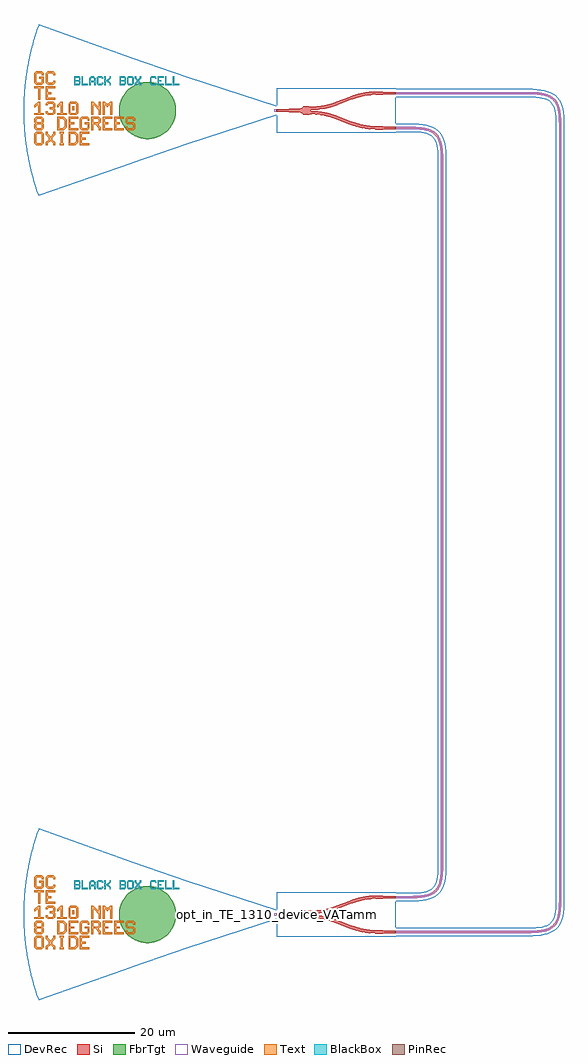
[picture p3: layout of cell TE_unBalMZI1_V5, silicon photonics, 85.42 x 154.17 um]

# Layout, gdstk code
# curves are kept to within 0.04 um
import gdstk
lib = gdstk.Library(unit=1e-6, precision=1e-09)
def R(c, l, rs):  # rectangles x0, y0, x1, y1
    for r in rs: c.add(gdstk.rectangle(r[:2], r[2:], *l))
def P(c, l, *ps):  # polygons
    for p in ps: c.add(gdstk.Polygon(p, *l))
Si = (1, 0)
PinRec = (1, 10)
Waveguide = (1, 99)
Text = (10, 0)
DevRec = (68, 0)
FbrTgt = (81, 0)
BlackBox = (998, 0)

ebeam_y_1310 = lib.new_cell('ebeam_y_1310')
R(ebeam_y_1310, Si, [(6.5,-3,7.4,-2.5), (-7.4,-0.25,-6,0.25), (6.5,2.5,7.4,3)])
P(ebeam_y_1310, Si, [(6.458,-3),(6.237,-2.997),(6.237,-2.497),(6.5,-2.5),(6.5,-3)],
  [(5.033,-2.908),(3.59,-2.634),(2.265,-2.21),(2.445,-1.744),(3.731,-2.154),(5.033,-2.404)],
  [(6.233,-2.997),(5.033,-2.908),(5.033,-2.404),(6.237,-2.497)],
  [(2.265,-2.21),(0.055,-1.356),(0.235,-0.89),(2.445,-1.744)],
  [(-0.762,-1.076),(-2.334,-0.724),(-4,-0.6),(-4,-0.1),(-2.381,-0.212),(-0.762,-0.555)],
  [(0.055,-1.356),(-0.762,-1.076),(-0.762,-0.555),(0.235,-0.89)],
  [(6.237,2.497),(6.237,2.997),(6.5,3),(6.5,2.5)],
  [(2.445,1.744),(2.267,2.211),(3.59,2.634),(5.033,2.908),(5.033,2.404),(3.731,2.154)],
  [(5.033,2.404),(5.033,2.908),(6.237,2.997),(6.237,2.497)],
  [(0.235,0.89),(0.055,1.356),(2.265,2.21),(2.445,1.744)],
  [(-4,0.1),(-4,0.6),(-2.334,0.724),(-0.762,1.076),(-0.762,0.555),(-2.381,0.212)],
  [(-0.762,0.555),(-0.762,1.076),(0.055,1.356),(0.235,0.89)],
  [(-5.122,-0.662),(-5.442,-0.374),(-5.808,-0.255),(-6,-0.25),(-6,0.25),(-5.817,0.253),(-5.442,0.374),(-5.122,0.662)],
  [(-4.957,-0.703),(-5.122,-0.662),(-5.122,0.662),(-4.538,0.703),(-4,0.6),(-4,-0.6),(-4.509,-0.701)],
  [(-7.4,-0.25),(-9.4,-0.175),(-9.4,0.175),(-7.4,0.25)],
  [(7.4,2.5),(7.4,3),(9.4,2.925),(9.4,2.575)],
  [(7.4,-3),(7.4,-2.5),(9.4,-2.575),(9.4,-2.925)])
R(ebeam_y_1310, DevRec, [(-9.4,-3.5,9.4,3.5)])
ebeam_y_1310.add(gdstk.FlexPath([(9.35,2.75),(9.45,2.75)], 0.35, ends="flush", simple_path=True, layer=1, datatype=10))  # PinRec
ebeam_y_1310.add(gdstk.FlexPath([(9.35,-2.75),(9.45,-2.75)], 0.35, ends="flush", simple_path=True, layer=1, datatype=10))  # PinRec
ebeam_y_1310.add(gdstk.FlexPath([(-9.35,0),(-9.45,0)], 0.35, ends="flush", simple_path=True, layer=1, datatype=10))  # PinRec
ebeam_y_1310.add(gdstk.Label('opt2', (9.4,2.75), layer=1, texttype=10))
ebeam_y_1310.add(gdstk.Label('opt3', (9.4,-2.75), layer=1, texttype=10))
ebeam_y_1310.add(gdstk.Label('opt1', (-9.4,0), layer=1, texttype=10))
ebeam_y_1310.add(gdstk.Label('Component=ebeam_y_1310', (-9,1.5), layer=68, texttype=0))
ebeam_y_1310.add(gdstk.Label('Lumerical_INTERCONNECT_library=NONE', (-6.86,-2.19), layer=68, texttype=0))
ebeam_y_1310.add(gdstk.Label('Ref: Y Zhang, Opt. Express, 21/1, 2013, for 1550 nm\nWorks reasonably well at 1310 nm', (-9.25,-1), layer=10, texttype=0))

waveguide_11 = lib.new_cell('Waveguide$11')
P(waveguide_11, Si, [(58.79,143.015),(58.79,143.365),(61.55,143.37),(62.688,143.437),(63.754,143.633),(64.245,143.809),(64.655,144.034),(65.211,144.563),(65.596,145.301),(65.832,146.29),(65.941,147.761),(65.935,260.324),(65.806,261.748),(65.55,262.7),(65.143,263.405),(64.834,263.714),(64.459,263.966),(63.618,264.284),(62.512,264.462),(61.549,264.511),(58.79,264.515),(58.79,264.865),(61.555,264.861),(62.725,264.792),(63.704,264.624),(64.509,264.334),(65.152,263.902),(65.636,263.312),(65.971,262.561),(66.177,261.643),(66.277,260.539),(66.291,147.755),(66.178,146.238),(65.926,145.183),(65.702,144.683),(65.414,144.254),(65.153,143.979),(64.742,143.674),(63.85,143.297),(62.726,143.089),(61.556,143.02)])
P(waveguide_11, Waveguide, [(58.79,143.015),(58.79,143.365),(61.55,143.37),(62.688,143.437),(63.754,143.633),(64.245,143.809),(64.655,144.034),(65.211,144.563),(65.596,145.301),(65.832,146.29),(65.941,147.761),(65.935,260.324),(65.806,261.748),(65.55,262.7),(65.143,263.405),(64.834,263.714),(64.459,263.966),(63.618,264.284),(62.512,264.462),(61.549,264.511),(58.79,264.515),(58.79,264.865),(61.555,264.861),(62.725,264.792),(63.704,264.624),(64.509,264.334),(65.152,263.902),(65.636,263.312),(65.971,262.561),(66.177,261.643),(66.277,260.539),(66.291,147.755),(66.178,146.238),(65.926,145.183),(65.702,144.683),(65.414,144.254),(65.153,143.979),(64.742,143.674),(63.85,143.297),(62.726,143.089),(61.556,143.02)])
P(waveguide_11, DevRec, [(58.79,142.515),(58.79,143.865),(61.772,143.876),(62.876,143.964),(63.719,144.145),(64.047,144.268),(64.545,144.576),(64.899,144.993),(65.166,145.592),(65.347,146.435),(65.435,147.538),(65.434,260.342),(65.346,261.446),(65.165,262.289),(64.898,262.888),(64.734,263.115),(64.317,263.469),(63.718,263.736),(63.328,263.838),(62.356,263.973),(58.79,264.015),(58.79,265.365),(61.818,265.355),(63.061,265.255),(64.124,265.024),(65.031,264.615),(65.42,264.331),(66.044,263.602),(66.453,262.695),(66.684,261.632),(66.784,260.39),(66.785,147.492),(66.588,145.696),(66.275,144.712),(65.761,143.89),(65.032,143.266),(64.125,142.857),(63.062,142.626),(61.82,142.526)])
waveguide_11.add(gdstk.FlexPath([(58.8,264.69),(58.78,264.69)], 0.35, ends="flush", simple_path=True, layer=1, datatype=10))  # PinRec
waveguide_11.add(gdstk.FlexPath([(58.8,143.19),(58.78,143.19)], 0.35, ends="flush", simple_path=True, layer=1, datatype=10))  # PinRec
waveguide_11.add(gdstk.Label('opt1', (58.79,264.69), layer=1, texttype=10))
waveguide_11.add(gdstk.Label('opt2', (58.79,143.19), layer=1, texttype=10))
waveguide_11.add(gdstk.Label('Lumerical_INTERCONNECT_library=Design kits/EBeam', (58.79,264.62), layer=68, texttype=0))
waveguide_11.add(gdstk.Label('Component=ebeam_wg_integral_1310', (58.79,264.76), layer=68, texttype=0))
waveguide_11.add(gdstk.Label('cellName=Waveguide', (58.79,264.83), layer=68, texttype=0))
waveguide_11.add(gdstk.Label('Spice_param:wg_length=0.000133067 wg_width=3.5e-07 points="[[58.79,264.69],[66.12,264.69],[66.12,143.19],[58.79,143.19]]" radius=5e-06', (58.79,264.69), layer=68, texttype=0))
waveguide_11.add(gdstk.Label('Length=133.067 (microns)', (58.79,264.27), layer=68, texttype=0))
waveguide_11.add(gdstk.Label('waveguide_type=Strip TE 1310 nm, w=350 nm', (58.79,264.55), layer=68, texttype=0))

text = lib.new_cell('TEXT')
P(text, BlackBox, [(0,0),(0,1.4),(0.8,1.4),(1,1.2),(0.2,1.2),(0.2,0.8),(0.7,0.8),(0.8,0.9),(0.8,1.1),(0.7,1.2),(1,1.2),(1,0.8),(0.9,0.7),(1,0.6),(0.2,0.6),(0.2,0.2),(0.7,0.2),(0.8,0.3),(0.8,0.5),(0.7,0.6),(1,0.6),(1,0.2),(0.8,0)],
  [(1.2,0),(1.2,1.4),(1.4,1.4),(1.4,0.2),(2.2,0.2),(2.2,0)],
  [(2.4,0),(2.4,1.1),(2.7,1.4),(3.1,1.4),(3.3,1.2),(2.8,1.2),(2.6,1),(2.6,0.7),(3.2,0.7),(3.2,1),(3,1.2),(3.3,1.2),(3.4,1.1),(3.4,0),(3.2,0),(3.2,0.5),(2.6,0.5),(2.6,0)],
  [(3.8,0),(3.6,0.2),(3.6,1.2),(3.8,1.4),(4.4,1.4),(4.6,1.2),(4.6,1),(4.4,1),(4.4,1.1),(4.3,1.2),(3.9,1.2),(3.8,1.1),(3.8,0.3),(3.9,0.2),(4.3,0.2),(4.4,0.3),(4.4,0.4),(4.6,0.4),(4.6,0.2),(4.4,0)],
  [(4.8,0),(4.8,1.4),(5,1.4),(5,0.8),(5.2,0.8),(5.6,1.2),(5.6,1.4),(5.8,1.4),(5.8,1.1),(5.4,0.7),(5.8,0.3),(5.8,0),(5.6,0),(5.6,0.2),(5.2,0.6),(5,0.6),(5,0)],
  [(7.2,0),(7.2,1.4),(8,1.4),(8.2,1.2),(7.4,1.2),(7.4,0.8),(7.9,0.8),(8,0.9),(8,1.1),(7.9,1.2),(8.2,1.2),(8.2,0.8),(8.1,0.7),(8.2,0.6),(7.4,0.6),(7.4,0.2),(7.9,0.2),(8,0.3),(8,0.5),(7.9,0.6),(8.2,0.6),(8.2,0.2),(8,0)],
  [(8.6,0),(8.4,0.2),(8.4,1.2),(8.6,1.4),(9.2,1.4),(9.4,1.2),(9.4,0.7),(9.2,0.7),(9.2,1.1),(9.1,1.2),(8.7,1.2),(8.6,1.1),(8.6,0.3),(8.7,0.2),(9.1,0.2),(9.2,0.3),(9.2,0.7),(9.4,0.7),(9.4,0.2),(9.2,0)],
  [(9.6,0),(9.6,0.3),(9.9,0.6),(9.9,0.8),(9.6,1.1),(9.6,1.4),(9.8,1.4),(9.8,1.2),(10.1,0.9),(10.4,1.2),(10.4,1.4),(10.6,1.4),(10.6,1.1),(10.3,0.8),(10.3,0.6),(10.6,0.3),(10.6,0),(10.4,0),(10.4,0.2),(10.1,0.5),(9.8,0.2),(9.8,0)],
  [(12.2,0),(12,0.2),(12,1.2),(12.2,1.4),(12.8,1.4),(13,1.2),(13,1),(12.8,1),(12.8,1.1),(12.7,1.2),(12.3,1.2),(12.2,1.1),(12.2,0.3),(12.3,0.2),(12.7,0.2),(12.8,0.3),(12.8,0.4),(13,0.4),(13,0.2),(12.8,0)],
  [(13.2,0),(13.2,1.4),(14.2,1.4),(14.2,1.2),(13.4,1.2),(13.4,0.8),(13.8,0.8),(13.8,0.6),(13.4,0.6),(13.4,0.2),(14.2,0.2),(14.2,0)],
  [(14.4,0),(14.4,1.4),(14.6,1.4),(14.6,0.2),(15.4,0.2),(15.4,0)],
  [(15.6,0),(15.6,1.4),(15.8,1.4),(15.8,0.2),(16.6,0.2),(16.6,0)])

gc_te_1310_8degoxide_bb = lib.new_cell('GC_TE_1310_8degOxide_BB')
R(gc_te_1310_8degoxide_bb, Waveguide, [(-0.4,-0.175,0,0.175)])
R(gc_te_1310_8degoxide_bb, Text, [(-32.27,0.06,-31.97,0.66)])
P(gc_te_1310_8degoxide_bb, Text, [(-37.67,1.71),(-37.67,3.51),(-38.27,3.51),(-38.27,3.81),(-36.77,3.81),(-36.77,3.51),(-37.37,3.51),(-37.37,1.71)],
  [(-37.97,-5.49),(-38.27,-5.19),(-38.27,-3.69),(-37.97,-3.39),(-37.07,-3.39),(-36.77,-3.69),(-36.77,-4.44),(-37.07,-4.44),(-37.07,-3.84),(-37.22,-3.69),(-37.82,-3.69),(-37.97,-3.84),(-37.97,-5.04),(-37.82,-5.19),(-37.22,-5.19),(-37.07,-5.04),(-37.07,-4.44),(-36.77,-4.44),(-36.77,-5.19),(-37.07,-5.49)],
  [(-31.07,-5.49),(-31.07,-3.39),(-29.57,-3.39),(-29.57,-3.69),(-30.77,-3.69),(-30.77,-4.29),(-30.17,-4.29),(-30.17,-4.59),(-30.77,-4.59),(-30.77,-5.19),(-29.57,-5.19),(-29.57,-5.49)],
  [(-32.87,-3.09),(-32.87,-0.99),(-31.37,-0.99),(-31.37,-1.29),(-32.57,-1.29),(-32.57,-1.89),(-31.97,-1.89),(-31.97,-2.19),(-32.57,-2.19),(-32.57,-2.79),(-31.37,-2.79),(-31.37,-3.09)],
  [(-27.47,-3.09),(-27.47,-0.99),(-25.97,-0.99),(-25.97,-1.29),(-27.17,-1.29),(-27.17,-1.89),(-26.57,-1.89),(-26.57,-2.19),(-27.17,-2.19),(-27.17,-2.79),(-25.97,-2.79),(-25.97,-3.09)],
  [(-25.67,-3.09),(-25.67,-0.99),(-24.17,-0.99),(-24.17,-1.29),(-25.37,-1.29),(-25.37,-1.89),(-24.77,-1.89),(-24.77,-2.19),(-25.37,-2.19),(-25.37,-2.79),(-24.17,-2.79),(-24.17,-3.09)],
  [(-36.47,1.71),(-36.47,3.81),(-34.97,3.81),(-34.97,3.51),(-36.17,3.51),(-36.17,2.91),(-35.57,2.91),(-35.57,2.61),(-36.17,2.61),(-36.17,2.01),(-34.97,2.01),(-34.97,1.71)],
  [(-27.47,-0.69),(-27.47,1.41),(-27.17,1.41),(-26.87,1.11),(-26.57,1.11),(-26.27,1.41),(-25.97,1.41),(-25.97,-0.69),(-26.27,-0.69),(-26.27,0.81),(-26.42,0.81),(-26.72,0.51),(-27.02,0.81),(-27.17,0.81),(-27.17,-0.69)],
  [(-29.27,-0.69),(-29.27,1.41),(-28.97,1.41),(-28.22,0.66),(-28.07,0.66),(-28.07,1.41),(-27.77,1.41),(-27.77,-0.69),(-28.07,-0.69),(-28.07,0.06),(-28.82,0.81),(-28.97,0.81),(-28.97,-0.69)],
  [(-34.22,-5.49),(-34.22,-5.19),(-34.07,-5.19),(-34.07,-3.69),(-34.22,-3.69),(-34.22,-3.39),(-33.62,-3.39),(-33.62,-3.69),(-33.77,-3.69),(-33.77,-5.19),(-33.62,-5.19),(-33.62,-5.49)],
  [(-36.17,-0.69),(-36.47,-0.39),(-36.47,-0.09),(-36.17,-0.09),(-36.17,-0.24),(-36.02,-0.39),(-35.42,-0.39),(-35.27,-0.24),(-35.27,0.06),(-35.42,0.21),(-35.87,0.21),(-35.87,0.51),(-35.42,0.51),(-35.27,0.66),(-35.27,0.96),(-35.42,1.11),(-36.02,1.11),(-36.17,0.96),(-36.17,0.81),(-36.47,0.81),(-36.47,1.11),(-36.17,1.41),(-35.27,1.41),(-34.97,1.11),(-34.97,0.51),(-35.12,0.36),(-34.97,0.21),(-34.97,-0.39),(-35.27,-0.69)],
  [(-29.27,-3.09),(-29.27,-0.99),(-28.07,-0.99),(-27.77,-1.29),(-28.97,-1.29),(-28.97,-1.89),(-28.22,-1.89),(-28.07,-1.74),(-28.07,-1.44),(-28.22,-1.29),(-27.77,-1.29),(-27.77,-1.89),(-28.07,-2.19),(-28.07,-2.34),(-27.77,-2.64),(-27.77,-3.09),(-28.07,-3.09),(-28.07,-2.79),(-28.67,-2.19),(-28.97,-2.19),(-28.97,-3.09)],
  [(-30.77,-3.09),(-31.07,-2.79),(-31.07,-1.29),(-30.77,-0.99),(-29.87,-0.99),(-29.57,-1.29),(-29.57,-1.59),(-29.87,-1.59),(-29.87,-1.44),(-30.02,-1.29),(-30.62,-1.29),(-30.77,-1.44),(-30.77,-2.64),(-30.62,-2.79),(-30.02,-2.79),(-29.87,-2.64),(-29.87,-2.19),(-30.32,-2.19),(-30.32,-1.89),(-29.57,-1.89),(-29.57,-2.79),(-29.87,-3.09)],
  [(-37.97,4.11),(-38.27,4.41),(-38.27,5.91),(-37.97,6.21),(-37.07,6.21),(-36.77,5.91),(-36.77,5.61),(-37.07,5.61),(-37.07,5.76),(-37.22,5.91),(-37.82,5.91),(-37.97,5.76),(-37.97,4.56),(-37.82,4.41),(-37.22,4.41),(-37.07,4.56),(-37.07,5.01),(-37.52,5.01),(-37.52,5.31),(-36.77,5.31),(-36.77,4.41),(-37.07,4.11)],
  [(-32.57,-0.69),(-32.87,-0.39),(-32.87,1.11),(-32.57,1.41),(-31.67,1.41),(-31.37,1.11),(-32.42,1.11),(-32.57,0.96),(-32.57,-0.24),(-32.42,-0.39),(-31.82,-0.39),(-31.67,-0.24),(-31.67,0.96),(-31.82,1.11),(-31.37,1.11),(-31.37,-0.39),(-31.67,-0.69)],
  [(-32.87,-5.49),(-32.87,-3.39),(-31.82,-3.39),(-31.52,-3.69),(-32.57,-3.69),(-32.57,-5.19),(-31.97,-5.19),(-31.67,-4.89),(-31.67,-3.99),(-31.97,-3.69),(-31.52,-3.69),(-31.37,-3.84),(-31.37,-5.04),(-31.82,-5.49)],
  [(-34.67,-3.09),(-34.67,-0.99),(-33.62,-0.99),(-33.32,-1.29),(-34.37,-1.29),(-34.37,-2.79),(-33.77,-2.79),(-33.47,-2.49),(-33.47,-1.59),(-33.77,-1.29),(-33.32,-1.29),(-33.17,-1.44),(-33.17,-2.64),(-33.62,-3.09)],
  [(-23.57,-3.09),(-23.87,-2.79),(-23.87,-2.49),(-23.57,-2.49),(-23.57,-2.64),(-23.42,-2.79),(-22.82,-2.79),(-22.67,-2.64),(-22.67,-2.34),(-22.82,-2.19),(-23.57,-2.19),(-23.87,-1.89),(-23.87,-1.29),(-23.57,-0.99),(-22.67,-0.99),(-22.37,-1.29),(-22.37,-1.59),(-22.67,-1.59),(-22.67,-1.44),(-22.82,-1.29),(-23.42,-1.29),(-23.57,-1.44),(-23.57,-1.74),(-23.42,-1.89),(-22.67,-1.89),(-22.37,-2.19),(-22.37,-2.79),(-22.67,-3.09)],
  [(-37.97,-3.09),(-38.27,-2.79),(-38.27,-2.19),(-38.12,-2.04),(-38.27,-1.89),(-38.27,-1.29),(-37.97,-0.99),(-37.07,-0.99),(-36.77,-1.29),(-37.82,-1.29),(-37.97,-1.44),(-37.97,-1.74),(-37.82,-1.89),(-37.22,-1.89),(-37.07,-1.74),(-37.07,-1.44),(-37.22,-1.29),(-36.77,-1.29),(-36.77,-1.89),(-36.92,-2.04),(-36.77,-2.19),(-37.82,-2.19),(-37.97,-2.34),(-37.97,-2.64),(-37.82,-2.79),(-37.22,-2.79),(-37.07,-2.64),(-37.07,-2.34),(-37.22,-2.19),(-36.77,-2.19),(-36.77,-2.79),(-37.07,-3.09)],
  [(-38.27,-0.69),(-38.27,-0.39),(-37.67,-0.39),(-37.67,0.81),(-37.82,0.81),(-38.12,0.51),(-38.27,0.51),(-38.27,0.81),(-37.67,1.41),(-37.37,1.41),(-37.37,-0.39),(-36.77,-0.39),(-36.77,-0.69)],
  [(-34.67,-0.69),(-34.67,-0.39),(-34.07,-0.39),(-34.07,0.81),(-34.22,0.81),(-34.52,0.51),(-34.67,0.51),(-34.67,0.81),(-34.07,1.41),(-33.77,1.41),(-33.77,-0.39),(-33.17,-0.39),(-33.17,-0.69)],
  [(-36.47,-5.49),(-36.47,-5.04),(-36.02,-4.59),(-36.02,-4.29),(-36.47,-3.84),(-36.47,-3.39),(-36.17,-3.39),(-36.17,-3.69),(-35.72,-4.14),(-35.27,-3.69),(-35.27,-3.39),(-34.97,-3.39),(-34.97,-3.84),(-35.42,-4.29),(-35.42,-4.59),(-34.97,-5.04),(-34.97,-5.49),(-35.27,-5.49),(-35.27,-5.19),(-35.72,-4.74),(-36.17,-5.19),(-36.17,-5.49)],
  [(-36.17,4.11),(-36.47,4.41),(-36.47,5.91),(-36.17,6.21),(-35.27,6.21),(-34.97,5.91),(-34.97,5.61),(-35.27,5.61),(-35.27,5.76),(-35.42,5.91),(-36.02,5.91),(-36.17,5.76),(-36.17,4.56),(-36.02,4.41),(-35.42,4.41),(-35.27,4.56),(-35.27,4.71),(-34.97,4.71),(-34.97,4.41),(-35.27,4.11)])
P(gc_te_1310_8degoxide_bb, DevRec, [(-37.607,-13.5),(-38.627,-10.245),(-39.378,-6.832),(-39.647,-5.058),(-39.835,-3.274),(-39.969,0.224),(-39.812,3.541),(-39.331,7.097),(-38.557,10.505),(-37.546,13.669),(-22.8,8.353),(-14.109,5.36),(0,0.75),(0,-0.75),(-14.109,-5.36)])
P(gc_te_1310_8degoxide_bb, FbrTgt, [(-20.621,-4.5),(-21.495,-4.37),(-22.326,-4.073),(-23.084,-3.619),(-23.738,-3.026),(-24.264,-2.316),(-24.642,-1.518),(-24.857,-0.661),(-24.9,0.221),(-24.77,1.095),(-24.473,1.926),(-24.019,2.684),(-23.426,3.338),(-22.716,3.864),(-21.918,4.242),(-21.061,4.457),(-20.179,4.5),(-19.305,4.37),(-18.474,4.073),(-17.716,3.619),(-17.062,3.026),(-16.536,2.316),(-16.158,1.518),(-15.943,0.661),(-15.9,-0.221),(-16.03,-1.095),(-16.327,-1.926),(-16.781,-2.684),(-17.374,-3.338),(-18.084,-3.864),(-18.882,-4.242),(-19.739,-4.457)])
gc_te_1310_8degoxide_bb.add(gdstk.FlexPath([(-0.01,0),(0.01,0)], 0.35, ends="flush", simple_path=True, layer=1, datatype=10))  # PinRec
gc_te_1310_8degoxide_bb.add(gdstk.Reference(text, (-32,4)))
gc_te_1310_8degoxide_bb.add(gdstk.Label('opt1', (0,0), layer=1, texttype=10))
gc_te_1310_8degoxide_bb.add(gdstk.Label('Lumerical_INTERCONNECT_library=Design kits/ebeam', (-29,-7), layer=68, texttype=0))
gc_te_1310_8degoxide_bb.add(gdstk.Label('Component=GC_TE_1310_8degOxide_BB', (-28,-5), layer=68, texttype=0))

waveguide_22 = lib.new_cell('Waveguide$22')
P(waveguide_22, Si, [(58.79,137.515),(58.79,137.865),(79.77,137.865),(81.508,137.957),(82.128,138.063),(82.78,138.26),(83.21,138.474),(83.567,138.739),(83.927,139.156),(84.152,139.566),(84.457,140.633),(84.556,141.479),(84.595,142.69),(84.595,265.19),(84.555,266.402),(84.427,267.402),(84.245,268.08),(84.045,268.53),(83.793,268.905),(83.484,269.214),(83.109,269.466),(82.534,269.708),(81.827,269.877),(81.162,269.962),(79.77,270.015),(58.79,270.015),(58.79,270.365),(79.991,270.364),(81.007,270.326),(81.887,270.221),(82.64,270.042),(83.277,269.772),(83.802,269.402),(84.216,268.921),(84.524,268.33),(84.739,267.624),(84.871,266.796),(84.94,265.626),(84.945,142.69),(84.906,141.453),(84.801,140.573),(84.622,139.82),(84.414,139.301),(84.143,138.855),(83.803,138.479),(83.392,138.174),(82.91,137.936),(82.355,137.757),(81.552,137.609),(79.77,137.515)])
P(waveguide_22, Waveguide, [(58.79,137.515),(58.79,137.865),(79.77,137.865),(81.508,137.957),(82.128,138.063),(82.78,138.26),(83.21,138.474),(83.567,138.739),(83.927,139.156),(84.152,139.566),(84.457,140.633),(84.556,141.479),(84.595,142.69),(84.595,265.19),(84.555,266.402),(84.427,267.402),(84.245,268.08),(84.045,268.53),(83.793,268.905),(83.484,269.214),(83.109,269.466),(82.534,269.708),(81.827,269.877),(81.162,269.962),(79.77,270.015),(58.79,270.015),(58.79,270.365),(79.991,270.364),(81.007,270.326),(81.887,270.221),(82.64,270.042),(83.277,269.772),(83.802,269.402),(84.216,268.921),(84.524,268.33),(84.739,267.624),(84.871,266.796),(84.94,265.626),(84.945,142.69),(84.906,141.453),(84.801,140.573),(84.622,139.82),(84.414,139.301),(84.143,138.855),(83.803,138.479),(83.392,138.174),(82.91,137.936),(82.355,137.757),(81.552,137.609),(79.77,137.515)])
P(waveguide_22, DevRec, [(58.79,137.015),(58.79,138.365),(79.77,138.365),(81.526,138.464),(82.369,138.645),(82.697,138.768),(83.195,139.076),(83.385,139.266),(83.693,139.764),(83.997,140.935),(84.095,142.69),(84.095,265.19),(84.052,266.427),(83.917,267.399),(83.815,267.789),(83.548,268.388),(83.384,268.615),(82.967,268.969),(82.368,269.236),(81.978,269.338),(81.006,269.473),(58.79,269.515),(58.79,270.865),(79.77,270.865),(81.711,270.755),(82.774,270.524),(83.248,270.345),(84.07,269.831),(84.41,269.491),(84.694,269.102),(85.103,268.195),(85.334,267.132),(85.434,265.89),(85.445,142.69),(85.335,140.749),(85.104,139.686),(84.925,139.212),(84.411,138.39),(84.071,138.05),(83.249,137.536),(82.775,137.357),(81.712,137.126),(79.77,137.015)])
waveguide_22.add(gdstk.FlexPath([(58.8,270.19),(58.78,270.19)], 0.35, ends="flush", simple_path=True, layer=1, datatype=10))  # PinRec
waveguide_22.add(gdstk.FlexPath([(58.8,137.69),(58.78,137.69)], 0.35, ends="flush", simple_path=True, layer=1, datatype=10))  # PinRec
waveguide_22.add(gdstk.Label('opt1', (58.79,270.19), layer=1, texttype=10))
waveguide_22.add(gdstk.Label('opt2', (58.79,137.69), layer=1, texttype=10))
waveguide_22.add(gdstk.Label('Lumerical_INTERCONNECT_library=Design kits/EBeam', (58.79,270.12), layer=68, texttype=0))
waveguide_22.add(gdstk.Label('Component=ebeam_wg_integral_1310', (58.79,270.26), layer=68, texttype=0))
waveguide_22.add(gdstk.Label('cellName=Waveguide', (58.79,270.33), layer=68, texttype=0))
waveguide_22.add(gdstk.Label('Spice_param:wg_length=0.000181367 wg_width=3.5e-07 points="[[58.79,270.19],[84.77,270.19],[84.77,137.69],[58.79,137.69]]" radius=5e-06', (58.79,270.19), layer=68, texttype=0))
waveguide_22.add(gdstk.Label('Length=181.367 (microns)', (58.79,269.77), layer=68, texttype=0))
waveguide_22.add(gdstk.Label('waveguide_type=Strip TE 1310 nm, w=350 nm', (58.79,270.05), layer=68, texttype=0))

te_unbalmzi1_v5 = lib.new_cell('TE_unBalMZI1_V5')
te_unbalmzi1_v5.add(gdstk.Reference(ebeam_y_1310, (49.39,140.44)))
te_unbalmzi1_v5.add(gdstk.Reference(ebeam_y_1310, (49.39,267.44)))
te_unbalmzi1_v5.add(gdstk.Reference(waveguide_11, (0,0)))
te_unbalmzi1_v5.add(gdstk.Reference(gc_te_1310_8degoxide_bb, (39.99,140.44)))
te_unbalmzi1_v5.add(gdstk.Reference(gc_te_1310_8degoxide_bb, (39.99,267.44)))
te_unbalmzi1_v5.add(gdstk.Reference(waveguide_22, (0,0)))
te_unbalmzi1_v5.add(gdstk.Label('opt_in_TE_1310_device_VATamma_devV5unBalMZI1', (39.99,140.4), layer=10, texttype=0))

lib.write_gds('TE_unBalMZI1_V5.gds')
